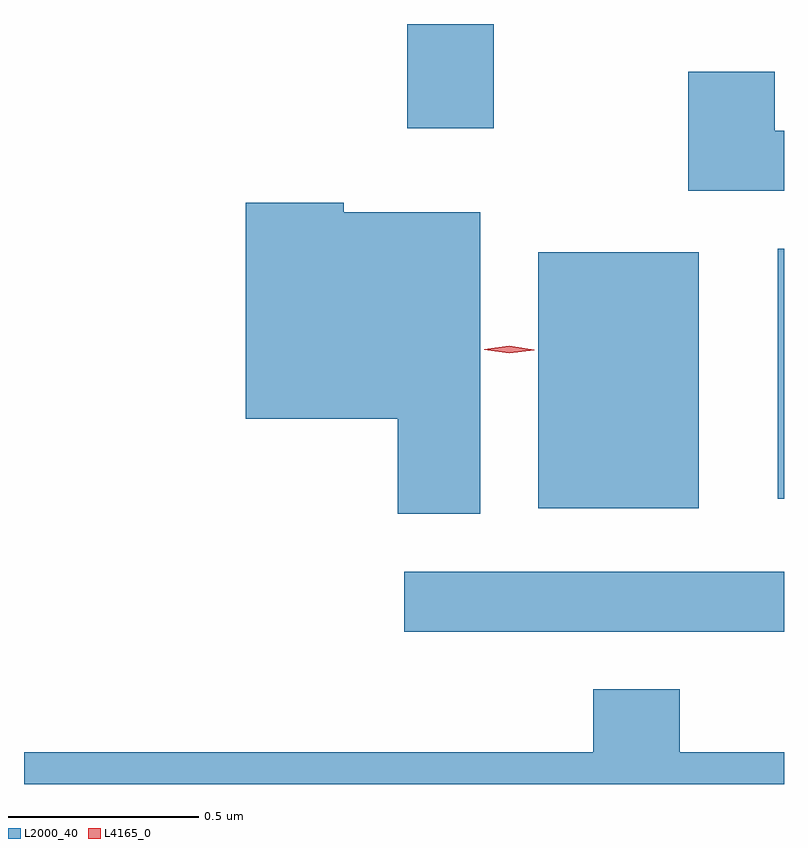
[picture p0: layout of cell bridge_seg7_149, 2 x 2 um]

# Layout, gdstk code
import gdstk
lib = gdstk.Library(unit=1e-6, precision=1e-09)
def R(c, l, rs):  # rectangles x0, y0, x1, y1
    for r in rs: c.add(gdstk.rectangle(r[:2], r[2:], *l))
def P(c, l, *ps):  # polygons
    for p in ps: c.add(gdstk.Polygon(p, *l))
L2000_40 = (2000, 40)
L4165_0 = (4165, 0)

bridge_seg7_149 = lib.new_cell('bridge_seg7_149')
R(bridge_seg7_149, L2000_40, [(1474.423,1672.721,1475.423,1672.879), (1474.776,1673.046,1475.199,1673.719), (1475.406,1673.071,1475.423,1673.729), (1474.431,1674.046,1474.659,1674.32)])
P(bridge_seg7_149, L2000_40, [(1475.423,1674.039),(1475.399,1674.039),(1475.399,1674.194),(1475.171,1674.194),(1475.171,1673.881),(1475.423,1673.881)],
  [(1474.624,1673.824),(1474.264,1673.824),(1474.264,1673.849),(1474.006,1673.849),(1474.006,1673.281),(1474.406,1673.281),(1474.406,1673.031),(1474.624,1673.031)],
  [(1475.423,1672.404),(1475.149,1672.404),(1475.149,1672.569),(1474.921,1672.569),(1474.921,1672.404),(1473.423,1672.404),(1473.423,1672.32),(1475.423,1672.32)])
P(bridge_seg7_149, L4165_0, [(1474.7,1673.454),(1474.634,1673.463),(1474.634,1673.464),(1474.634,1673.464),(1474.7,1673.473),(1474.766,1673.463),(1474.766,1673.463),(1474.766,1673.462)])

lib.write_gds('bridge_seg7_149.gds')
